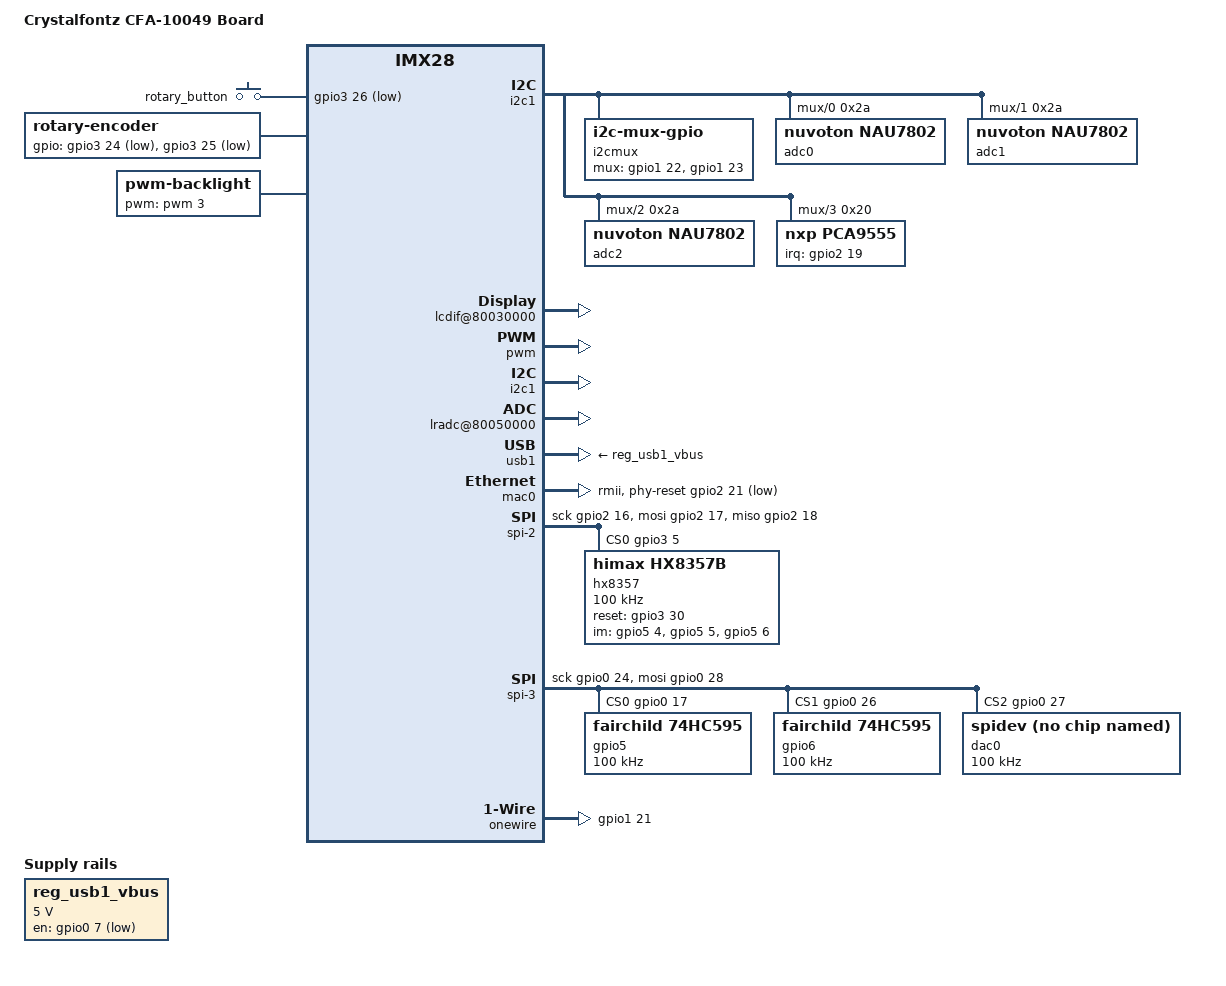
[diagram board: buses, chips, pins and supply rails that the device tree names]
// SPDX-License-Identifier: GPL-2.0-or-later
/*
 * Copyright 2012 Free Electrons
 */

/*
 * The CFA-10049 is an expansion board for the CFA-10036 module, thus we
 * need to include the CFA-10036 DTS.
 */
#include "imx28-cfa10036.dts"

/ {
	model = "Crystalfontz CFA-10049 Board";
	compatible = "crystalfontz,cfa10049", "crystalfontz,cfa10036", "fsl,imx28";

	i2cmux {
		compatible = "i2c-mux-gpio";
		#address-cells = <1>;
		#size-cells = <0>;
		pinctrl-names = "default";
		pinctrl-0 = <&i2cmux_pins_cfa10049>;
		mux-gpios = <&gpio1 22 0 &gpio1 23 0>;
		i2c-parent = <&i2c1>;

		i2c@0 {
			#address-cells = <1>;
			#size-cells = <0>;
			reg = <0>;

			adc0: nau7802@2a {
				compatible = "nuvoton,nau7802";
				reg = <0x2a>;
				nuvoton,vldo = <3000>;
			};
		};

		i2c@1 {
			#address-cells = <1>;
			#size-cells = <0>;
			reg = <1>;

			adc1: nau7802@2a {
				compatible = "nuvoton,nau7802";
				reg = <0x2a>;
				nuvoton,vldo = <3000>;
			};
		};

		i2c@2 {
			#address-cells = <1>;
			#size-cells = <0>;
			reg = <2>;

				adc2: nau7802@2a {
				compatible = "nuvoton,nau7802";
				reg = <0x2a>;
				nuvoton,vldo = <3000>;
			};
		};

		i2c@3 {
			reg = <3>;
			#address-cells = <1>;
			#size-cells = <0>;

			pca9555: pca9555@20 {
				compatible = "nxp,pca9555";
				pinctrl-names = "default";
				pinctrl-0 = <&pca_pins_cfa10049>;
				interrupt-parent = <&gpio2>;
				interrupts = <19 0x2>;
				gpio-controller;
				#gpio-cells = <2>;
				interrupt-controller;
				#interrupt-cells = <2>;
				reg = <0x20>;
			};
		};
	};

	apb@80000000 {
		apbh@80000000 {
			pinctrl@80018000 {
				usb_pins_cfa10049: usb-10049@0 {
					reg = <0>;
					fsl,pinmux-ids = <
						MX28_PAD_GPMI_D07__GPIO_0_7
					>;
					fsl,drive-strength = <MXS_DRIVE_4mA>;
					fsl,voltage = <MXS_VOLTAGE_HIGH>;
					fsl,pull-up = <MXS_PULL_DISABLE>;
				};

				i2cmux_pins_cfa10049: i2cmux-10049@0 {
					reg = <0>;
					fsl,pinmux-ids = <
						MX28_PAD_LCD_D22__GPIO_1_22
						MX28_PAD_LCD_D23__GPIO_1_23
					>;
					fsl,drive-strength = <MXS_DRIVE_4mA>;
					fsl,voltage = <MXS_VOLTAGE_HIGH>;
					fsl,pull-up = <MXS_PULL_DISABLE>;
				};

				mac0_pins_cfa10049: mac0-10049@0 {
					reg = <0>;
					fsl,pinmux-ids = <
						MX28_PAD_SSP2_SS2__GPIO_2_21
					>;
					fsl,drive-strength = <MXS_DRIVE_4mA>;
					fsl,voltage = <MXS_VOLTAGE_HIGH>;
					fsl,pull-up = <MXS_PULL_DISABLE>;
				};

				pca_pins_cfa10049: pca-10049@0 {
					reg = <0>;
					fsl,pinmux-ids = <
						MX28_PAD_SSP2_SS0__GPIO_2_19
					>;
					fsl,drive-strength = <MXS_DRIVE_4mA>;
					fsl,voltage = <MXS_VOLTAGE_HIGH>;
					fsl,pull-up = <MXS_PULL_ENABLE>;
				};

				rotary_pins_cfa10049: rotary-10049@0 {
					reg = <0>;
					fsl,pinmux-ids = <
						MX28_PAD_I2C0_SCL__GPIO_3_24
						MX28_PAD_I2C0_SDA__GPIO_3_25
					>;
					fsl,drive-strength = <MXS_DRIVE_4mA>;
					fsl,voltage = <MXS_VOLTAGE_HIGH>;
					fsl,pull-up = <MXS_PULL_ENABLE>;
				};

				rotary_btn_pins_cfa10049: rotary-btn-10049@0 {
					reg = <0>;
					fsl,pinmux-ids = <
						MX28_PAD_SAIF1_SDATA0__GPIO_3_26
					>;
					fsl,drive-strength = <MXS_DRIVE_4mA>;
					fsl,voltage = <MXS_VOLTAGE_HIGH>;
					fsl,pull-up = <MXS_PULL_ENABLE>;
				};

				spi2_pins_cfa10049: spi2-cfa10049@0 {
					reg = <0>;
					fsl,pinmux-ids = <
						MX28_PAD_SSP2_SCK__GPIO_2_16
						MX28_PAD_SSP2_MOSI__GPIO_2_17
						MX28_PAD_SSP2_MISO__GPIO_2_18
						MX28_PAD_AUART1_TX__GPIO_3_5
					>;
					fsl,drive-strength = <MXS_DRIVE_8mA>;
					fsl,voltage = <MXS_VOLTAGE_HIGH>;
					fsl,pull-up = <MXS_PULL_ENABLE>;
				};

				spi3_pins_cfa10049: spi3-cfa10049@0 {
					reg = <0>;
					fsl,pinmux-ids = <
						MX28_PAD_GPMI_RDN__GPIO_0_24
						MX28_PAD_GPMI_RESETN__GPIO_0_28
						MX28_PAD_GPMI_CE1N__GPIO_0_17
						MX28_PAD_GPMI_ALE__GPIO_0_26
						MX28_PAD_GPMI_CLE__GPIO_0_27
					>;
					fsl,drive-strength = <MXS_DRIVE_8mA>;
					fsl,voltage = <MXS_VOLTAGE_HIGH>;
					fsl,pull-up = <MXS_PULL_ENABLE>;
				};

				lcdif_18bit_pins_cfa10049: lcdif-18bit@0 {
					reg = <0>;
					fsl,pinmux-ids = <
						MX28_PAD_LCD_D00__LCD_D0
						MX28_PAD_LCD_D01__LCD_D1
						MX28_PAD_LCD_D02__LCD_D2
						MX28_PAD_LCD_D03__LCD_D3
						MX28_PAD_LCD_D04__LCD_D4
						MX28_PAD_LCD_D05__LCD_D5
						MX28_PAD_LCD_D06__LCD_D6
						MX28_PAD_LCD_D07__LCD_D7
						MX28_PAD_LCD_D08__LCD_D8
						MX28_PAD_LCD_D09__LCD_D9
						MX28_PAD_LCD_D10__LCD_D10
						MX28_PAD_LCD_D11__LCD_D11
						MX28_PAD_LCD_D12__LCD_D12
						MX28_PAD_LCD_D13__LCD_D13
						MX28_PAD_LCD_D14__LCD_D14
						MX28_PAD_LCD_D15__LCD_D15
						MX28_PAD_LCD_D16__LCD_D16
						MX28_PAD_LCD_D17__LCD_D17
					>;
					fsl,drive-strength = <MXS_DRIVE_4mA>;
					fsl,voltage = <MXS_VOLTAGE_HIGH>;
					fsl,pull-up = <MXS_PULL_DISABLE>;
				};

				lcdif_pins_cfa10049: lcdif-evk@0 {
					reg = <0>;
					fsl,pinmux-ids = <
						MX28_PAD_LCD_RD_E__LCD_VSYNC
						MX28_PAD_LCD_WR_RWN__LCD_HSYNC
						MX28_PAD_LCD_RS__LCD_DOTCLK
						MX28_PAD_LCD_CS__LCD_ENABLE
					>;
					fsl,drive-strength = <MXS_DRIVE_4mA>;
					fsl,voltage = <MXS_VOLTAGE_HIGH>;
					fsl,pull-up = <MXS_PULL_DISABLE>;
				};

				lcdif_pins_cfa10049_pullup: lcdif-10049-pullup@0 {
					reg = <0>;
					fsl,pinmux-ids = <
						MX28_PAD_LCD_RESET__GPIO_3_30
					>;
					fsl,drive-strength = <MXS_DRIVE_4mA>;
					fsl,voltage = <MXS_VOLTAGE_HIGH>;
					fsl,pull-up = <MXS_PULL_ENABLE>;
				};

				w1_gpio_pins: w1-gpio@0 {
					reg = <0>;
					fsl,pinmux-ids = <
						MX28_PAD_LCD_D21__GPIO_1_21
					>;
					fsl,drive-strength = <MXS_DRIVE_8mA>;
					fsl,voltage = <MXS_VOLTAGE_HIGH>;
					fsl,pull-up = <MXS_PULL_DISABLE>; /* 0 will enable the keeper */
				};
			};

			lcdif@80030000 {
				pinctrl-names = "default";
				pinctrl-0 = <&lcdif_18bit_pins_cfa10049
					     &lcdif_pins_cfa10049
					     &lcdif_pins_cfa10049_pullup>;
				display = <&display0>;
				status = "okay";

				display0: display0 {
					bits-per-pixel = <32>;
					bus-width = <18>;

					display-timings {
						native-mode = <&timing0>;
						timing0: timing0 {
							clock-frequency = <9216000>;
							hactive = <320>;
							vactive = <480>;
							hback-porch = <2>;
							hfront-porch = <2>;
							vback-porch = <2>;
							vfront-porch = <2>;
							hsync-len = <15>;
							vsync-len = <15>;
							hsync-active = <0>;
							vsync-active = <0>;
							de-active = <1>;
							pixelclk-active = <1>;
						};
					};
				};
			};
		};

		apbx@80040000 {
			pwm: pwm@80064000 {
				pinctrl-names = "default";
				pinctrl-0 = <&pwm3_pins_b>;
				status = "okay";
			};

			i2c1: i2c@8005a000 {
				pinctrl-names = "default";
				pinctrl-0 = <&i2c1_pins_a>;
				status = "okay";
			};

			usbphy1: usbphy@8007e000 {
				status = "okay";
			};

			lradc@80050000 {
				status = "okay";
				fsl,lradc-touchscreen-wires = <4>;
			};
		};
	};

	ahb@80080000 {
		usb1: usb@80090000 {
			vbus-supply = <&reg_usb1_vbus>;
			pinctrl-0 = <&usb1_pins_a>;
			pinctrl-names = "default";
			status = "okay";
		};
	};

	regulators {
		compatible = "simple-bus";
		#address-cells = <1>;
		#size-cells = <0>;

		reg_usb1_vbus: regulator@0 {
			compatible = "regulator-fixed";
			reg = <0>;
			pinctrl-names = "default";
			pinctrl-0 = <&usb_pins_cfa10049>;
			regulator-name = "usb1_vbus";
			regulator-min-microvolt = <5000000>;
			regulator-max-microvolt = <5000000>;
			gpio = <&gpio0 7 1>;
		};
	};

	ahb@80080000 {
		mac0: ethernet@800f0000 {
			phy-mode = "rmii";
			pinctrl-names = "default";
			pinctrl-0 = <&mac0_pins_a
				&mac0_pins_cfa10049>;
			phy-reset-gpios = <&gpio2 21 GPIO_ACTIVE_LOW>;
			phy-reset-duration = <100>;
			status = "okay";
		};
	};

	spi-2 {
		compatible = "spi-gpio";
		pinctrl-names = "default";
		pinctrl-0 = <&spi2_pins_cfa10049>;
		status = "okay";
		gpio-sck = <&gpio2 16 0>;
		gpio-mosi = <&gpio2 17 0>;
		gpio-miso = <&gpio2 18 0>;
		cs-gpios = <&gpio3 5 0>;
		num-chipselects = <1>;
		#address-cells = <1>;
		#size-cells = <0>;

		hx8357: hx8357@0 {
			compatible = "himax,hx8357b", "himax,hx8357";
			reg = <0>;
			spi-max-frequency = <100000>;
			spi-cpol;
			spi-cpha;
			gpios-reset = <&gpio3 30 0>;
			im-gpios = <&gpio5 4 0 &gpio5 5 0 &gpio5 6 0>;
		};
	};

	spi-3 {
		compatible = "spi-gpio";
		pinctrl-names = "default";
		pinctrl-0 = <&spi3_pins_cfa10049>;
		status = "okay";
		gpio-sck = <&gpio0 24 0>;
		gpio-mosi = <&gpio0 28 0>;
		cs-gpios = <&gpio0 17 0 &gpio0 26 0 &gpio0 27 0>;
		num-chipselects = <3>;
		#address-cells = <1>;
		#size-cells = <0>;

		gpio5: gpio5@0 {
			compatible = "fairchild,74hc595";
			gpio-controller;
			#gpio-cells = <2>;
			reg = <0>;
			registers-number = <2>;
			spi-max-frequency = <100000>;
		};

		gpio6: gpio6@1 {
			compatible = "fairchild,74hc595";
			gpio-controller;
			#gpio-cells = <2>;
			reg = <1>;
			registers-number = <4>;
			spi-max-frequency = <100000>;
		};

		dac0: dh2228@2 {
			compatible = "rohm,dh2228fv";
			reg = <2>;
			spi-max-frequency = <100000>;
		};
	};

	gpio-keys {
		compatible = "gpio-keys";
		pinctrl-names = "default";
		pinctrl-0 = <&rotary_btn_pins_cfa10049>;

		rotary-button {
			label = "rotary_button";
			gpios = <&gpio3 26 1>;
			debounce-interval = <10>;
			linux,code = <28>;
		};
	};

	rotary {
		compatible = "rotary-encoder";
		pinctrl-names = "default";
		pinctrl-0 = <&rotary_pins_cfa10049>;
		gpios = <&gpio3 24 1>, <&gpio3 25 1>;
		linux,axis = <1>; /* REL_Y */
		rotary-encoder,relative-axis;
	};

	backlight {
		compatible = "pwm-backlight";
		pwms = <&pwm 3 5000000>;
		brightness-levels = <0 4 8 16 32 64 128 255>;
		default-brightness-level = <6>;

	};

	onewire {
		compatible = "w1-gpio";
		pinctrl-names = "default";
		pinctrl-0 = <&w1_gpio_pins>;
		status = "okay";
		gpios = <&gpio1 21 0>;
	};
};
